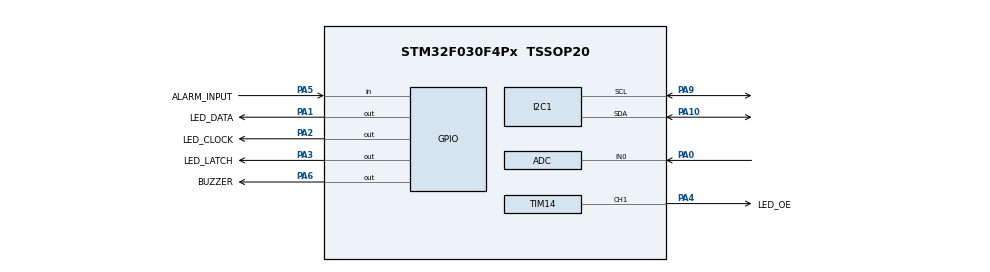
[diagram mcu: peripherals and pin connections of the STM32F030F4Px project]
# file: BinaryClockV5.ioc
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ADC.SamplingTime=ADC_SAMPLETIME_239CYCLES_5
I2C1.Timing=0x00201D2B
Mcu.Family=STM32F0
Mcu.Name=STM32F030F4Px
Mcu.Package=TSSOP20
PA0.Mode=IN0
PA0.Signal=ADC_IN0
PA1.GPIO_Label=LED_DATA
PA1.Signal=GPIO_Output
PA10.Mode=I2C
PA10.Signal=I2C1_SDA
PA2.GPIO_Label=LED_CLOCK
PA2.Signal=GPIO_Output
PA3.GPIO_Label=LED_LATCH
PA3.Signal=GPIO_Output
PA4.GPIO_Label=LED_OE
PA4.Signal=S_TIM14_CH1
PA5.GPIO_Label=ALARM_INPUT
PA5.Signal=GPIO_Input
PA6.GPIO_Label=BUZZER
PA6.Signal=GPIO_Output
PA9.Mode=I2C
PA9.Signal=I2C1_SCL
ProjectManager.HeapSize=0x200
ProjectManager.StackSize=0x400
ProjectManager.TargetToolchain=CMake
SH.S_TIM14_CH1.0=TIM14_CH1,PWM Generation1 CH1
TIM14.Channel=TIM_CHANNEL_1
TIM14.Period=255
VP_TIM14_VS_ClockSourceINT.Mode=Enable_Timer
board=custom

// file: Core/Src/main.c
/* USER CODE BEGIN Header */
/**
  ******************************************************************************
  * @file           : main.c
  * @brief          : Main program body
  ******************************************************************************
  * @attention
  *
  * Copyright (c) 2026 STMicroelectronics.
  * All rights reserved.
  *
  * This software is licensed under terms that can be found in the LICENSE file
  * in the root directory of this software component.
  * If no LICENSE file comes with this software, it is provided AS-IS.
  *
  ******************************************************************************
  */
/* USER CODE END Header */
#include "main.h"

/* USER CODE BEGIN Includes */
#include "shift595.h"
#include "clockapp.h"
#include "bh1750.h"
#include "bme280.h"
#include "brightness.h"
#include "buzzer.h"
#include "clocktime.h"
#include "ds3231.h"
/* USER CODE END Includes */

ADC_HandleTypeDef hadc;

I2C_HandleTypeDef hi2c1;

TIM_HandleTypeDef htim14;

void SystemClock_Config(void);
static void MX_GPIO_Init(void);
static void MX_I2C1_Init(void);
static void MX_TIM14_Init(void);
static void MX_ADC_Init(void);

/* USER CODE BEGIN 0 */
/* USER CODE BEGIN 0 */
/* USER CODE END 0 */

int main(void)
{

  /* MCU Configuration--------------------------------------------------------*/

  /* Reset of all peripherals, Initializes the Flash interface and the Systick. */
  HAL_Init();

  /* Configure the system clock */
  SystemClock_Config();

  /* Initialize all configured peripherals */
  MX_GPIO_Init();
  MX_I2C1_Init();
  MX_TIM14_Init();
  MX_ADC_Init();
  /* USER CODE BEGIN 2 */
  sr595_init();
  bh1750_init();
  bme280_init();
  clockapp_init();
  brightness_init();

  buzzer_init();

  /* USER CODE END 2 */

  /* Infinite loop */
  while (1)
  {

    /* USER CODE BEGIN 3 */
    clockapp_task();
    brightness_task();
    buzzer_task();
  }
  /* USER CODE END 3 */
}

void SystemClock_Config(void)
{
  RCC_OscInitTypeDef RCC_OscInitStruct = {0};
  RCC_ClkInitTypeDef RCC_ClkInitStruct = {0};
  RCC_PeriphCLKInitTypeDef PeriphClkInit = {0};

  /** Initializes the RCC Oscillators according to the specified parameters
  * in the RCC_OscInitTypeDef structure.
  */
  RCC_OscInitStruct.OscillatorType = RCC_OSCILLATORTYPE_HSI|RCC_OSCILLATORTYPE_HSI14;
  RCC_OscInitStruct.HSIState = RCC_HSI_ON;
  RCC_OscInitStruct.HSI14State = RCC_HSI14_ON;
  RCC_OscInitStruct.HSICalibrationValue = RCC_HSICALIBRATION_DEFAULT;
  RCC_OscInitStruct.HSI14CalibrationValue = 16;
  RCC_OscInitStruct.PLL.PLLState = RCC_PLL_NONE;
  if (HAL_RCC_OscConfig(&RCC_OscInitStruct) != HAL_OK)
  {
    Error_Handler();
  }

  /** Initializes the CPU, AHB and APB buses clocks
  */
  RCC_ClkInitStruct.ClockType = RCC_CLOCKTYPE_HCLK|RCC_CLOCKTYPE_SYSCLK
                              |RCC_CLOCKTYPE_PCLK1;
  RCC_ClkInitStruct.SYSCLKSource = RCC_SYSCLKSOURCE_HSI;
  RCC_ClkInitStruct.AHBCLKDivider = RCC_SYSCLK_DIV1;
  RCC_ClkInitStruct.APB1CLKDivider = RCC_HCLK_DIV1;

  if (HAL_RCC_ClockConfig(&RCC_ClkInitStruct, FLASH_LATENCY_0) != HAL_OK)
  {
    Error_Handler();
  }
  PeriphClkInit.PeriphClockSelection = RCC_PERIPHCLK_I2C1;
  PeriphClkInit.I2c1ClockSelection = RCC_I2C1CLKSOURCE_HSI;
  if (HAL_RCCEx_PeriphCLKConfig(&PeriphClkInit) != HAL_OK)
  {
    Error_Handler();
  }
}

static void MX_ADC_Init(void)
{

  ADC_ChannelConfTypeDef sConfig = {0};

  /** Configure the global features of the ADC (Clock, Resolution, Data Alignment and number of conversion)
  */
  hadc.Instance = ADC1;
  hadc.Init.ClockPrescaler = ADC_CLOCK_ASYNC_DIV1;
  hadc.Init.Resolution = ADC_RESOLUTION_12B;
  hadc.Init.DataAlign = ADC_DATAALIGN_RIGHT;
  hadc.Init.ScanConvMode = ADC_SCAN_DIRECTION_FORWARD;
  hadc.Init.EOCSelection = ADC_EOC_SINGLE_CONV;
  hadc.Init.LowPowerAutoWait = DISABLE;
  hadc.Init.LowPowerAutoPowerOff = DISABLE;
  hadc.Init.ContinuousConvMode = DISABLE;
  hadc.Init.DiscontinuousConvMode = DISABLE;
  hadc.Init.ExternalTrigConv = ADC_SOFTWARE_START;
  hadc.Init.ExternalTrigConvEdge = ADC_EXTERNALTRIGCONVEDGE_NONE;
  hadc.Init.DMAContinuousRequests = DISABLE;
  hadc.Init.Overrun = ADC_OVR_DATA_PRESERVED;
  if (HAL_ADC_Init(&hadc) != HAL_OK)
  {
    Error_Handler();
  }

  /** Configure for the selected ADC regular channel to be converted.
  */
  sConfig.Channel = ADC_CHANNEL_0;
  sConfig.Rank = ADC_RANK_CHANNEL_NUMBER;
  sConfig.SamplingTime = ADC_SAMPLETIME_239CYCLES_5;
  if (HAL_ADC_ConfigChannel(&hadc, &sConfig) != HAL_OK)
  {
    Error_Handler();
  }

}

static void MX_I2C1_Init(void)
{

  hi2c1.Instance = I2C1;
  hi2c1.Init.Timing = 0x00201D2B;
  hi2c1.Init.OwnAddress1 = 0;
  hi2c1.Init.AddressingMode = I2C_ADDRESSINGMODE_7BIT;
  hi2c1.Init.DualAddressMode = I2C_DUALADDRESS_DISABLE;
  hi2c1.Init.OwnAddress2 = 0;
  hi2c1.Init.OwnAddress2Masks = I2C_OA2_NOMASK;
  hi2c1.Init.GeneralCallMode = I2C_GENERALCALL_DISABLE;
  hi2c1.Init.NoStretchMode = I2C_NOSTRETCH_DISABLE;
  if (HAL_I2C_Init(&hi2c1) != HAL_OK)
  {
    Error_Handler();
  }

  /** Configure Analogue filter
  */
  if (HAL_I2CEx_ConfigAnalogFilter(&hi2c1, I2C_ANALOGFILTER_ENABLE) != HAL_OK)
  {
    Error_Handler();
  }

  /** Configure Digital filter
  */
  if (HAL_I2CEx_ConfigDigitalFilter(&hi2c1, 0) != HAL_OK)
  {
    Error_Handler();
  }

}

static void MX_TIM14_Init(void)
{

  TIM_OC_InitTypeDef sConfigOC = {0};

  htim14.Instance = TIM14;
  htim14.Init.Prescaler = 0;
  htim14.Init.CounterMode = TIM_COUNTERMODE_UP;
  htim14.Init.Period = 255;
  htim14.Init.ClockDivision = TIM_CLOCKDIVISION_DIV1;
  htim14.Init.AutoReloadPreload = TIM_AUTORELOAD_PRELOAD_DISABLE;
  if (HAL_TIM_Base_Init(&htim14) != HAL_OK)
  {
    Error_Handler();
  }
  if (HAL_TIM_PWM_Init(&htim14) != HAL_OK)
  {
    Error_Handler();
  }
  sConfigOC.OCMode = TIM_OCMODE_PWM1;
  sConfigOC.Pulse = 0;
  sConfigOC.OCPolarity = TIM_OCPOLARITY_HIGH;
  sConfigOC.OCFastMode = TIM_OCFAST_DISABLE;
  if (HAL_TIM_PWM_ConfigChannel(&htim14, &sConfigOC, TIM_CHANNEL_1) != HAL_OK)
  {
    Error_Handler();
  }
  HAL_TIM_MspPostInit(&htim14);

}

static void MX_GPIO_Init(void)
{
  GPIO_InitTypeDef GPIO_InitStruct = {0};

  /* GPIO Ports Clock Enable */
  __HAL_RCC_GPIOA_CLK_ENABLE();

  /*Configure GPIO pin Output Level */
  HAL_GPIO_WritePin(GPIOA, LED_DATA_Pin|LED_CLOCK_Pin|LED_LATCH_Pin|BUZZER_Pin, GPIO_PIN_RESET);

  /*Configure GPIO pins : LED_DATA_Pin LED_CLOCK_Pin LED_LATCH_Pin BUZZER_Pin */
  GPIO_InitStruct.Pin = LED_DATA_Pin|LED_CLOCK_Pin|LED_LATCH_Pin|BUZZER_Pin;
  GPIO_InitStruct.Mode = GPIO_MODE_OUTPUT_PP;
  GPIO_InitStruct.Pull = GPIO_NOPULL;
  GPIO_InitStruct.Speed = GPIO_SPEED_FREQ_LOW;
  HAL_GPIO_Init(GPIOA, &GPIO_InitStruct);

  /*Configure GPIO pin : ALARM_INPUT_Pin */
  GPIO_InitStruct.Pin = ALARM_INPUT_Pin;
  GPIO_InitStruct.Mode = GPIO_MODE_INPUT;
  GPIO_InitStruct.Pull = GPIO_NOPULL;
  HAL_GPIO_Init(ALARM_INPUT_GPIO_Port, &GPIO_InitStruct);

}

void Error_Handler(void)
{
  __disable_irq();
  while (1)
  {
  }
}
